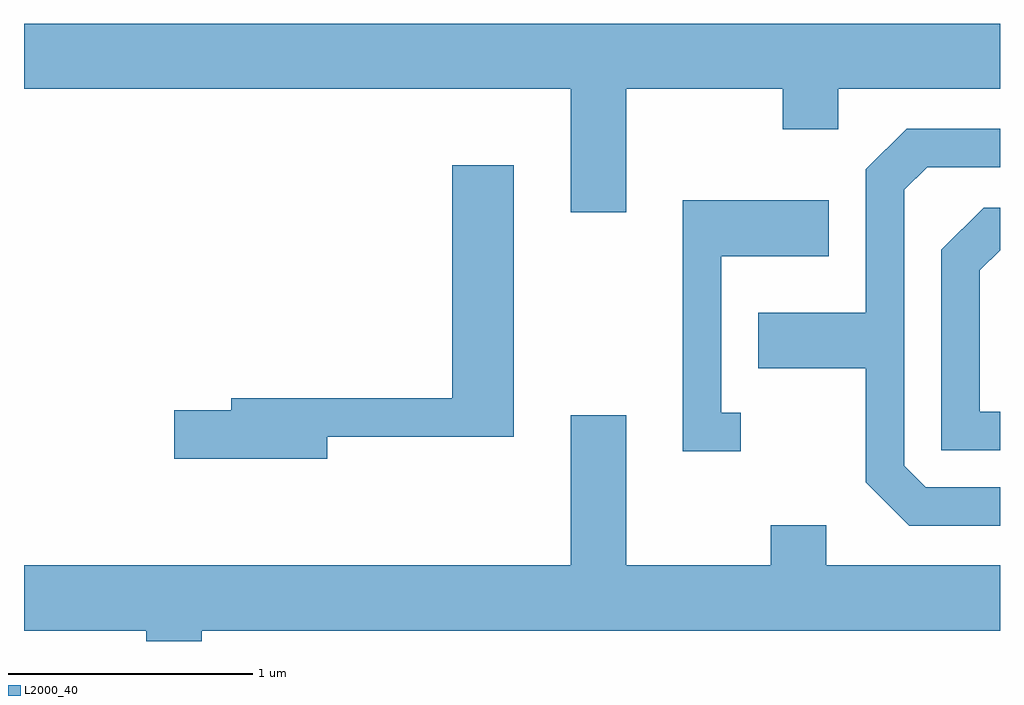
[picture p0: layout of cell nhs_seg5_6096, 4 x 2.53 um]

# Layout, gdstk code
import gdstk
lib = gdstk.Library(unit=1e-6, precision=1e-09)
def P(c, l, *ps):  # polygons
    for p in ps: c.add(gdstk.Polygon(p, *l))
L2000_40 = (2000, 40)

nhs_seg5_6096 = lib.new_cell('nhs_seg5_6096')
P(nhs_seg5_6096, L2000_40, [(368.079,1472.336),(368.721,1472.336),(368.721,1472.171),(368.949,1472.171),(368.949,1472.336),(369.611,1472.336),(369.611,1472.604),(365.611,1472.604),(365.611,1472.336),(367.851,1472.336),(367.851,1471.831),(368.079,1471.831)],
  [(369.611,1470.704),(369.307,1470.704),(369.219,1470.792),(369.219,1471.924),(369.312,1472.016),(369.611,1472.016),(369.611,1472.174),(369.229,1472.174),(369.061,1472.007),(369.061,1471.419),(368.621,1471.419),(368.621,1471.191),(369.061,1471.191),(369.061,1470.724),(369.239,1470.546),(369.611,1470.546)],
  [(366.854,1470.911),(367.619,1470.911),(367.619,1472.024),(367.366,1472.024),(367.366,1471.069),(366.461,1471.069),(366.461,1471.019),(366.226,1471.019),(366.226,1470.821),(366.854,1470.821)],
  [(368.548,1471.009),(368.469,1471.009),(368.469,1471.651),(368.909,1471.651),(368.909,1471.879),(368.311,1471.879),(368.311,1470.851),(368.548,1470.851)],
  [(369.611,1471.014),(369.529,1471.014),(369.529,1471.594),(369.611,1471.675),(369.611,1471.849),(369.544,1471.849),(369.371,1471.677),(369.371,1470.856),(369.611,1470.856)],
  [(366.339,1470.116),(369.611,1470.116),(369.611,1470.384),(368.899,1470.384),(368.899,1470.549),(368.671,1470.549),(368.671,1470.384),(368.079,1470.384),(368.079,1470.999),(367.851,1470.999),(367.851,1470.384),(365.611,1470.384),(365.611,1470.116),(366.111,1470.116),(366.111,1470.072),(366.339,1470.072)])

lib.write_gds('nhs_seg5_6096.gds')
